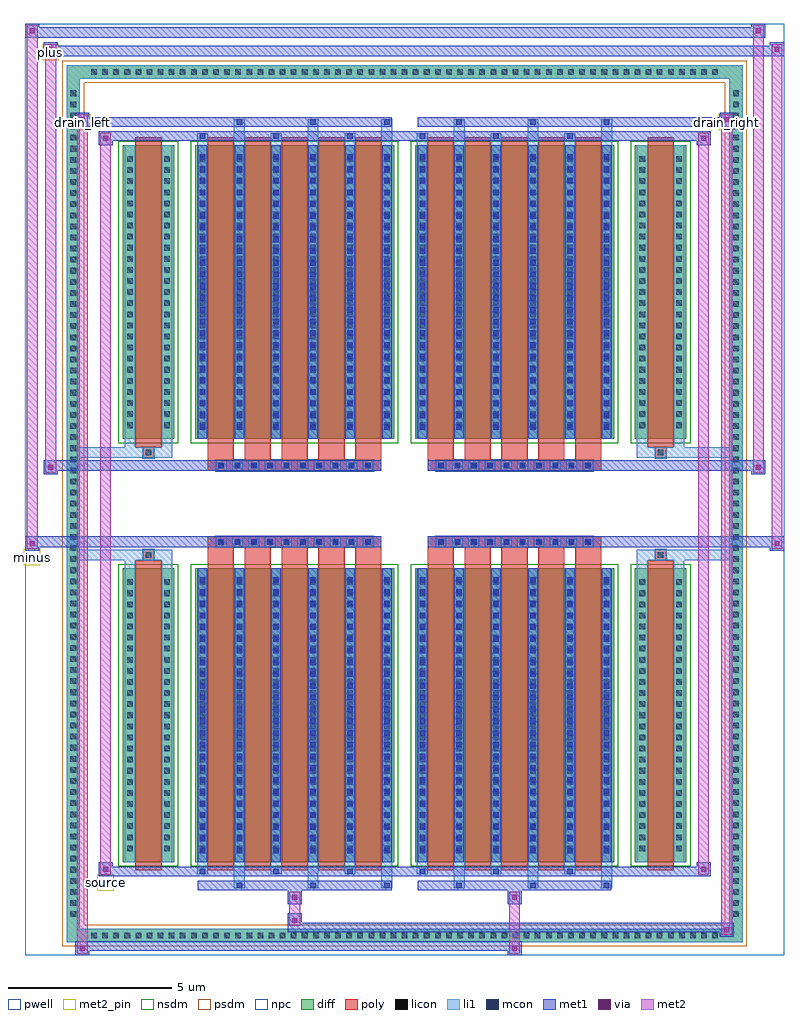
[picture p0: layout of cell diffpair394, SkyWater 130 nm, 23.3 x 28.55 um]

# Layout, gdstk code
import gdstk
lib = gdstk.Library(unit=1e-6, precision=5e-09)
def R(c, l, rs):  # rectangles x0, y0, x1, y1
    for r in rs: c.add(gdstk.rectangle(r[:2], r[2:], *l))
def A(c, l, x, y, w, h, nx, ny, dx, dy):  # array of equal rectangles
    R(c, l, [(x+i*dx, y+j*dy, x+i*dx+w, y+j*dy+h) for i in range(nx) for j in range(ny)])
def P(c, l, *ps):  # polygons
    for p in ps: c.add(gdstk.Polygon(p, *l))
pwell = (64, 44)
diff = (65, 20)
poly = (66, 20)
licon = (66, 44)
li1 = (67, 20)
mcon = (67, 44)
met1 = (68, 20)
via = (68, 44)
met2_pin = (69, 16)
met2 = (69, 20)
nsdm = (93, 44)
psdm = (94, 20)
npc = (95, 20)

diffpair394 = lib.new_cell('diffpair394')
R(diffpair394, pwell, [(-11.63,-13.84,11.63,14.71), (-8.95,-12.03,-0.01,-0.805), (0.01,-12.03,8.95,-0.805), (-8.95,0.805,-0.01,12.03), (0.01,0.805,8.95,12.03)])
A(diffpair394, diff, -9.725, -13.44, 0.41, 0.41, 57, 2, 0.34, 26.47)
A(diffpair394, diff, -10.36, -12.785, 0.41, 0.41, 1, 75, 0, 0.34)
A(diffpair394, diff, 9.95, -12.785, 0.41, 0.41, 1, 75, 0, 0.34)
R(diffpair394, diff, [(-9.725,-13.44,9.725,-13.03), (-10.36,-12.785,-9.95,12.785), (9.95,-12.785,10.36,12.785), (-8.64,-10.985,-7.06,-1.985), (-6.42,-10.985,-0.32,-1.985), (0.32,-10.985,6.42,-1.985), (7.06,-10.985,8.64,-1.985), (-8.64,1.985,-7.06,10.985), (-6.42,1.985,-0.32,10.985), (0.32,1.985,6.42,10.985), (7.06,1.985,8.64,10.985), (-9.725,13.03,9.725,13.44)])
P(diffpair394, diff, [(10.36,13.44),(-10.36,13.44),(-10.36,-13.03),(-9.95,-13.03),(-9.95,13.03),(9.95,13.03),(9.95,-13.03),(-9.95,-13.03),(-10.36,-13.03),(-10.36,-13.44),(10.36,-13.44)])
A(diffpair394, poly, -6.03, -11.235, 0.8, 9.5, 5, 2, 1.13, 12.97)
A(diffpair394, poly, 0.71, -11.235, 0.8, 9.5, 5, 2, 1.13, 12.97)
A(diffpair394, poly, -6.03, -1.735, 0.8, 0.4, 5, 2, 1.13, 3.07)
A(diffpair394, poly, 0.71, -1.735, 0.8, 0.4, 5, 2, 1.13, 3.07)
A(diffpair394, poly, -5.785, -1.335, 0.33, 0.33, 10, 2, 0.5, 2.34)
A(diffpair394, poly, 0.955, -1.335, 0.33, 0.33, 10, 2, 0.5, 2.34)
R(diffpair394, poly, [(-8.25,-11.235,-7.45,-1.735), (7.45,-11.235,8.25,-1.735), (-8.015,-1.735,-7.685,-1.405), (-8.015,-1.735,-7.685,-1.405), (7.685,-1.735,8.015,-1.405), (7.685,-1.735,8.015,-1.405), (-6.03,-1.335,-0.71,-1.005), (0.71,-1.335,6.03,-1.005), (-6.03,1.005,-0.71,1.335), (0.71,1.005,6.03,1.335), (-8.015,1.405,-7.685,1.735), (-8.015,1.405,-7.685,1.735), (7.685,1.405,8.015,1.735), (7.685,1.405,8.015,1.735), (-8.25,1.735,-7.45,11.235), (7.45,1.735,8.25,11.235)])
A(diffpair394, licon, -9.605, -13.32, 0.17, 0.17, 57, 2, 0.34, 26.47)
A(diffpair394, licon, -10.24, -12.665, 0.17, 0.17, 1, 75, 0, 0.34)
A(diffpair394, licon, 10.07, -12.665, 0.17, 0.17, 1, 75, 0, 0.34)
A(diffpair394, licon, -8.5, -10.65, 0.17, 0.17, 1, 25, 0, 0.34)
A(diffpair394, licon, -7.37, -10.65, 0.17, 0.17, 1, 25, 0, 0.34)
A(diffpair394, licon, -6.28, -10.65, 0.17, 0.17, 6, 25, 1.13, 0.34)
A(diffpair394, licon, 0.46, -10.65, 0.17, 0.17, 6, 25, 1.13, 0.34)
A(diffpair394, licon, 7.2, -10.65, 0.17, 0.17, 1, 25, 0, 0.34)
A(diffpair394, licon, 8.33, -10.65, 0.17, 0.17, 1, 25, 0, 0.34)
A(diffpair394, licon, -5.705, -1.255, 0.17, 0.17, 10, 2, 0.5, 2.34)
A(diffpair394, licon, 1.035, -1.255, 0.17, 0.17, 10, 2, 0.5, 2.34)
A(diffpair394, licon, -8.5, 2.32, 0.17, 0.17, 1, 25, 0, 0.34)
A(diffpair394, licon, -7.37, 2.32, 0.17, 0.17, 1, 25, 0, 0.34)
A(diffpair394, licon, -6.28, 2.32, 0.17, 0.17, 6, 25, 1.13, 0.34)
A(diffpair394, licon, 0.46, 2.32, 0.17, 0.17, 6, 25, 1.13, 0.34)
A(diffpair394, licon, 7.2, 2.32, 0.17, 0.17, 1, 25, 0, 0.34)
A(diffpair394, licon, 8.33, 2.32, 0.17, 0.17, 1, 25, 0, 0.34)
R(diffpair394, licon, [(-7.935,-1.655,-7.765,-1.485), (7.765,-1.655,7.935,-1.485), (-7.935,1.485,-7.765,1.655), (7.765,1.485,7.935,1.655)])
A(diffpair394, li1, -9.685, -13.4, 0.33, 0.33, 57, 2, 0.34, 26.47)
A(diffpair394, li1, -10.32, -12.745, 0.33, 0.33, 1, 75, 0, 0.34)
A(diffpair394, li1, 9.99, -12.745, 0.33, 0.33, 1, 75, 0, 0.34)
A(diffpair394, li1, -5.23, -11.79, 0.33, 0.805, 3, 2, 2.26, 22.775)
A(diffpair394, li1, -5.15, -11.79, 0.17, 0.17, 3, 2, 2.26, 23.41)
A(diffpair394, li1, 1.51, -11.79, 0.33, 0.805, 3, 2, 2.26, 22.775)
A(diffpair394, li1, 1.59, -11.79, 0.17, 0.17, 3, 2, 2.26, 23.41)
A(diffpair394, li1, -6.36, -11.36, 0.33, 0.375, 3, 2, 2.26, 22.345)
A(diffpair394, li1, -6.28, -11.36, 0.17, 0.17, 3, 2, 2.26, 22.55)
A(diffpair394, li1, 0.38, -11.36, 0.33, 0.375, 3, 2, 2.26, 22.345)
A(diffpair394, li1, 0.46, -11.36, 0.17, 0.17, 3, 2, 2.26, 22.55)
A(diffpair394, li1, -6.36, -10.985, 0.33, 9, 6, 2, 1.13, 12.97)
A(diffpair394, li1, 0.38, -10.985, 0.33, 9, 6, 2, 1.13, 12.97)
A(diffpair394, li1, -8.58, -10.73, 0.33, 0.33, 1, 25, 0, 0.34)
A(diffpair394, li1, -7.45, -10.73, 0.33, 0.33, 1, 25, 0, 0.34)
A(diffpair394, li1, -6.36, -10.73, 0.33, 0.33, 6, 25, 1.13, 0.34)
A(diffpair394, li1, 0.38, -10.73, 0.33, 0.33, 6, 25, 1.13, 0.34)
A(diffpair394, li1, 7.12, -10.73, 0.33, 0.33, 1, 25, 0, 0.34)
A(diffpair394, li1, 8.25, -10.73, 0.33, 0.33, 1, 25, 0, 0.34)
A(diffpair394, li1, -6.28, -10.71, 0.17, 0.17, 6, 24, 1.13, 0.36)
A(diffpair394, li1, -6.28, -10.71, 0.17, 8.45, 6, 2, 1.13, 12.97)
A(diffpair394, li1, 0.46, -10.71, 0.17, 0.17, 6, 24, 1.13, 0.36)
A(diffpair394, li1, 0.46, -10.71, 0.17, 8.45, 6, 2, 1.13, 12.97)
A(diffpair394, li1, -5.785, -1.335, 0.33, 0.33, 10, 2, 0.5, 2.34)
A(diffpair394, li1, 0.955, -1.335, 0.33, 0.33, 10, 2, 0.5, 2.34)
A(diffpair394, li1, -8.58, 2.24, 0.33, 0.33, 1, 25, 0, 0.34)
A(diffpair394, li1, -7.45, 2.24, 0.33, 0.33, 1, 25, 0, 0.34)
A(diffpair394, li1, -6.36, 2.24, 0.33, 0.33, 6, 25, 1.13, 0.34)
A(diffpair394, li1, 0.38, 2.24, 0.33, 0.33, 6, 25, 1.13, 0.34)
A(diffpair394, li1, 7.12, 2.24, 0.33, 0.33, 1, 25, 0, 0.34)
A(diffpair394, li1, 8.25, 2.24, 0.33, 0.33, 1, 25, 0, 0.34)
A(diffpair394, li1, -6.28, 2.26, 0.17, 0.17, 6, 24, 1.13, 0.36)
A(diffpair394, li1, 0.46, 2.26, 0.17, 0.17, 6, 24, 1.13, 0.36)
R(diffpair394, li1, [(-10.36,-13.44,-9.95,-13.03), (-10.36,-13.44,-9.95,-13.03), (-9.95,-13.44,9.95,-13.03), (9.95,-13.44,10.36,-13.03), (9.95,-13.44,10.36,-13.03), (-10.36,-13.03,-9.95,13.03), (9.95,-13.03,10.36,13.03), (-8.58,-10.985,-8.25,-1.985), (-7.45,-10.985,-7.12,-1.985), (7.12,-10.985,7.45,-1.985), (8.25,-10.985,8.58,-1.985), (-8.58,-1.985,-8.25,-1.405), (-7.45,-1.985,-7.12,-1.405), (7.12,-1.985,7.45,-1.405), (8.25,-1.985,8.58,-1.405), (-10.36,-1.735,-8.015,-1.405), (-8.58,-1.735,-8.015,-1.405), (-8.015,-1.735,-7.685,-1.405), (-7.685,-1.735,-7.12,-1.405), (7.12,-1.735,7.685,-1.405), (7.685,-1.735,8.015,-1.405), (7.685,-1.735,10.36,-1.405), (8.015,-1.735,8.58,-1.405), (-10.36,1.405,-8.015,1.735), (-8.58,1.405,-8.015,1.735), (-8.58,1.405,-8.25,1.985), (-8.015,1.405,-7.685,1.735), (-7.685,1.405,-7.12,1.735), (-7.45,1.405,-7.12,1.985), (7.12,1.405,7.685,1.735), (7.12,1.405,7.45,1.985), (7.685,1.405,8.015,1.735), (7.685,1.405,10.36,1.735), (8.015,1.405,8.58,1.735), (8.25,1.405,8.58,1.985), (-8.58,1.985,-8.25,10.985), (-7.45,1.985,-7.12,10.985), (7.12,1.985,7.45,10.985), (8.25,1.985,8.58,10.985), (-10.36,13.03,-9.95,13.44), (-10.36,13.03,-9.95,13.44), (-9.95,13.03,9.95,13.44), (9.95,13.03,10.36,13.44), (9.95,13.03,10.36,13.44)])
A(diffpair394, mcon, -5.15, -11.79, 0.17, 0.17, 3, 2, 2.26, 23.41)
A(diffpair394, mcon, 1.59, -11.79, 0.17, 0.17, 3, 2, 2.26, 23.41)
A(diffpair394, mcon, -6.28, -11.36, 0.17, 0.17, 3, 2, 2.26, 22.55)
A(diffpair394, mcon, 0.46, -11.36, 0.17, 0.17, 3, 2, 2.26, 22.55)
A(diffpair394, mcon, -6.28, -10.71, 0.17, 0.17, 6, 24, 1.13, 0.36)
A(diffpair394, mcon, 0.46, -10.71, 0.17, 0.17, 6, 24, 1.13, 0.36)
A(diffpair394, mcon, -5.705, -1.255, 0.17, 0.17, 10, 2, 0.5, 2.34)
A(diffpair394, mcon, 1.035, -1.255, 0.17, 0.17, 10, 2, 0.5, 2.34)
A(diffpair394, mcon, -6.28, 2.26, 0.17, 0.17, 6, 24, 1.13, 0.36)
A(diffpair394, mcon, 0.46, 2.26, 0.17, 0.17, 6, 24, 1.13, 0.36)
A(diffpair394, met1, -5.21, -11.85, 0.29, 0.29, 3, 2, 2.26, 23.41)
A(diffpair394, met1, 1.53, -11.85, 0.29, 0.29, 3, 2, 2.26, 23.41)
A(diffpair394, met1, -6.34, -11.42, 0.29, 0.29, 3, 2, 2.26, 22.55)
A(diffpair394, met1, 0.4, -11.42, 0.29, 0.29, 3, 2, 2.26, 22.55)
A(diffpair394, met1, -6.34, -10.985, 0.29, 9, 6, 2, 1.13, 12.97)
A(diffpair394, met1, 0.4, -10.985, 0.29, 9, 6, 2, 1.13, 12.97)
A(diffpair394, met1, -6.34, -10.77, 0.29, 0.29, 6, 24, 1.13, 0.36)
A(diffpair394, met1, 0.4, -10.77, 0.29, 0.29, 6, 24, 1.13, 0.36)
A(diffpair394, met1, -5.765, -1.315, 0.29, 0.29, 10, 2, 0.5, 2.34)
A(diffpair394, met1, 0.975, -1.315, 0.29, 0.29, 10, 2, 0.5, 2.34)
A(diffpair394, met1, -6.34, 2.2, 0.29, 0.29, 6, 24, 1.13, 0.36)
A(diffpair394, met1, 0.4, 2.2, 0.29, 0.29, 6, 24, 1.13, 0.36)
R(diffpair394, met1, [(-10.09,-13.84,-9.66,-13.41), (3.155,-13.84,3.585,-13.41), (-10.09,-13.7,3.585,-13.41), (9.66,-13.27,10.09,-12.84), (-3.585,-13.13,10.09,-12.84), (-3.585,-12.99,-3.155,-12.56), (-3.585,-12.28,-3.155,-11.85), (3.155,-12.28,3.585,-11.85), (-6.34,-11.85,-0.4,-11.56), (0.4,-11.85,6.34,-11.56), (-9.38,-11.42,-8.95,-10.99), (-9.38,-11.42,-6.34,-11.13), (-6.34,-11.42,-0.4,-11.13), (-0.4,-11.42,0.4,-11.13), (0.4,-11.42,6.34,-11.13), (6.34,-11.42,9.38,-11.13), (8.95,-11.42,9.38,-10.99), (-11.63,-1.435,-11.2,-1.005), (11.2,-1.435,11.63,-1.005), (-11.63,-1.335,-0.71,-1.005), (-6.03,-1.335,-0.71,-1.005), (0.71,-1.335,6.03,-1.005), (0.71,-1.335,11.63,-1.005), (-11.06,0.905,-10.63,1.335), (10.63,0.905,11.06,1.335), (-11.06,1.005,-6.03,1.335), (-6.03,1.005,-0.71,1.335), (0.71,1.005,6.03,1.335), (6.03,1.005,11.06,1.335), (-9.38,10.99,-8.95,11.42), (8.95,10.99,9.38,11.42), (-9.38,11.13,-6.34,11.42), (-6.34,11.13,-0.4,11.42), (-0.4,11.13,0.4,11.42), (0.4,11.13,6.34,11.42), (6.34,11.13,9.38,11.42), (-10.09,11.56,-9.66,11.99), (-10.09,11.56,-6.34,11.85), (-6.34,11.56,-0.4,11.85), (0.4,11.56,6.34,11.85), (6.34,11.56,10.09,11.85), (9.66,11.56,10.09,11.99), (-11.06,13.71,-10.63,14.14), (-11.06,13.71,-8.95,14.04), (-8.95,13.71,8.95,14.04), (8.95,13.71,11.63,14.04), (11.2,13.71,11.63,14.14), (-11.63,14.28,-11.2,14.71), (-11.63,14.28,-8.95,14.61), (-8.95,14.28,8.95,14.61), (8.95,14.28,11.06,14.61), (10.63,14.28,11.06,14.71)])
R(diffpair394, via, [(-9.95,-13.7,-9.8,-13.55), (3.295,-13.7,3.445,-13.55), (9.8,-13.13,9.95,-12.98), (-3.445,-12.85,-3.295,-12.7), (-3.445,-12.14,-3.295,-11.99), (3.295,-12.14,3.445,-11.99), (-9.24,-11.28,-9.09,-11.13), (9.09,-11.28,9.24,-11.13), (-11.49,-1.295,-11.34,-1.145), (11.34,-1.295,11.49,-1.145), (-10.92,1.045,-10.77,1.195), (10.77,1.045,10.92,1.195), (-9.24,11.13,-9.09,11.28), (9.09,11.13,9.24,11.28), (-9.95,11.7,-9.8,11.85), (9.8,11.7,9.95,11.85), (-10.92,13.85,-10.77,14), (11.34,13.85,11.49,14), (-11.49,14.42,-11.34,14.57), (10.77,14.42,10.92,14.57)])
R(diffpair394, met2_pin, [(-9.415,-11.87,-8.915,-11.37), (-11.665,-1.885,-11.165,-1.385), (-10.125,11.44,-9.625,11.94), (9.625,11.44,10.125,11.94), (-11.095,13.59,-10.595,14.09)])
R(diffpair394, met2, [(-10.04,-13.79,-9.71,-13.46), (-10.04,-13.79,-9.71,11.94), (3.205,-13.79,3.535,-13.46), (3.205,-13.46,3.535,-12.23), (9.71,-13.22,10.04,-12.89), (9.71,-13.22,10.04,11.94), (-3.535,-12.94,-3.205,-12.61), (-3.535,-12.61,-3.205,-12.23), (-3.535,-12.23,-3.205,-11.9), (3.205,-12.23,3.535,-11.9), (-9.33,-11.37,-9,-11.04), (-9.33,-11.37,-9,11.37), (9,-11.37,9.33,-11.04), (9,-11.37,9.33,11.37), (-11.58,-1.385,-11.25,-1.055), (-11.58,-1.385,-11.25,14.66), (11.25,-1.385,11.58,-1.055), (11.25,-1.385,11.58,14.09), (-11.01,0.955,-10.68,1.285), (-11.01,0.955,-10.68,14.09), (10.68,0.955,11.01,1.285), (10.68,0.955,11.01,14.66), (-9.33,11.04,-9,11.37), (9,11.04,9.33,11.37), (-10.04,11.61,-9.71,11.94), (9.71,11.61,10.04,11.94), (-11.01,13.76,-10.68,14.09), (11.25,13.76,11.58,14.09), (-11.58,14.33,-11.25,14.66), (10.68,14.33,11.01,14.66)])
P(diffpair394, met2, [(11.58,-1.385),(11.58,-1.385),(11.58,-1.055),(11.58,-1.055)],
  [(11.58,13.76),(11.58,13.76),(11.58,14.09),(11.58,14.09)],
  [(-11.25,-1.385),(-11.25,-1.385),(-11.25,-1.055),(-11.25,-1.055)],
  [(-11.25,14.33),(-11.25,14.33),(-11.25,14.66),(-11.25,14.66)],
  [(11.01,0.955),(11.01,0.955),(11.01,1.285),(11.01,1.285)],
  [(11.01,14.33),(11.01,14.33),(11.01,14.66),(11.01,14.66)],
  [(-10.68,0.955),(-10.68,0.955),(-10.68,1.285),(-10.68,1.285)],
  [(-10.68,13.76),(-10.68,13.76),(-10.68,14.09),(-10.68,14.09)],
  [(-9.71,-13.79),(-9.71,-13.79),(-9.71,-13.46),(-9.71,-13.46)],
  [(-9.71,11.61),(-9.71,11.61),(-9.71,11.94),(-9.71,11.94)],
  [(10.04,-13.22),(10.04,-13.22),(10.04,-12.89),(10.04,-12.89)],
  [(10.04,11.61),(10.04,11.61),(10.04,11.94),(10.04,11.94)],
  [(-9,-11.37),(-9,-11.37),(-9,-11.04),(-9,-11.04)],
  [(-9,11.04),(-9,11.04),(-9,11.37),(-9,11.37)],
  [(9.33,-11.37),(9.33,-11.37),(9.33,-11.04),(9.33,-11.04)],
  [(9.33,11.04),(9.33,11.04),(9.33,11.37),(9.33,11.37)])
R(diffpair394, nsdm, [(-8.77,-11.115,-6.93,-1.855), (-6.55,-11.115,-0.19,-1.855), (0.19,-11.115,6.55,-1.855), (6.93,-11.115,8.77,-1.855), (-8.77,1.855,-6.93,11.115), (-6.55,1.855,-0.19,11.115), (0.19,1.855,6.55,11.115), (6.93,1.855,8.77,11.115)])
P(diffpair394, psdm, [(10.49,13.57),(-10.49,13.57),(-10.49,-12.9),(-9.82,-12.9),(-9.82,12.9),(9.82,12.9),(9.82,-12.9),(-9.82,-12.9),(-10.49,-12.9),(-10.49,-13.57),(10.49,-13.57)])
A(diffpair394, npc, -5.805, -1.355, 0.37, 0.37, 10, 2, 0.5, 2.34)
A(diffpair394, npc, 0.935, -1.355, 0.37, 0.37, 10, 2, 0.5, 2.34)
R(diffpair394, npc, [(-8.035,-1.755,-7.665,-1.385), (7.665,-1.755,8.035,-1.385), (-5.805,-1.355,-4.935,-0.985), (-5.805,-1.355,-4.935,-0.985), (-5.305,-1.355,-4.435,-0.985), (-5.305,-1.355,-4.435,-0.985), (-4.805,-1.355,-3.935,-0.985), (-4.805,-1.355,-3.935,-0.985), (-4.305,-1.355,-3.435,-0.985), (-4.305,-1.355,-3.435,-0.985), (-3.805,-1.355,-2.935,-0.985), (-3.805,-1.355,-2.935,-0.985), (-3.305,-1.355,-2.435,-0.985), (-3.305,-1.355,-2.435,-0.985), (-2.805,-1.355,-1.935,-0.985), (-2.805,-1.355,-1.935,-0.985), (-2.305,-1.355,-1.435,-0.985), (-2.305,-1.355,-1.435,-0.985), (-1.805,-1.355,-0.935,-0.985), (-1.805,-1.355,-0.935,-0.985), (0.935,-1.355,1.805,-0.985), (0.935,-1.355,1.805,-0.985), (1.435,-1.355,2.305,-0.985), (1.435,-1.355,2.305,-0.985), (1.935,-1.355,2.805,-0.985), (1.935,-1.355,2.805,-0.985), (2.435,-1.355,3.305,-0.985), (2.435,-1.355,3.305,-0.985), (2.935,-1.355,3.805,-0.985), (2.935,-1.355,3.805,-0.985), (3.435,-1.355,4.305,-0.985), (3.435,-1.355,4.305,-0.985), (3.935,-1.355,4.805,-0.985), (3.935,-1.355,4.805,-0.985), (4.435,-1.355,5.305,-0.985), (4.435,-1.355,5.305,-0.985), (4.935,-1.355,5.805,-0.985), (4.935,-1.355,5.805,-0.985), (-5.805,0.985,-4.935,1.355), (-5.805,0.985,-4.935,1.355), (-5.305,0.985,-4.435,1.355), (-5.305,0.985,-4.435,1.355), (-4.805,0.985,-3.935,1.355), (-4.805,0.985,-3.935,1.355), (-4.305,0.985,-3.435,1.355), (-4.305,0.985,-3.435,1.355), (-3.805,0.985,-2.935,1.355), (-3.805,0.985,-2.935,1.355), (-3.305,0.985,-2.435,1.355), (-3.305,0.985,-2.435,1.355), (-2.805,0.985,-1.935,1.355), (-2.805,0.985,-1.935,1.355), (-2.305,0.985,-1.435,1.355), (-2.305,0.985,-1.435,1.355), (-1.805,0.985,-0.935,1.355), (-1.805,0.985,-0.935,1.355), (0.935,0.985,1.805,1.355), (0.935,0.985,1.805,1.355), (1.435,0.985,2.305,1.355), (1.435,0.985,2.305,1.355), (1.935,0.985,2.805,1.355), (1.935,0.985,2.805,1.355), (2.435,0.985,3.305,1.355), (2.435,0.985,3.305,1.355), (2.935,0.985,3.805,1.355), (2.935,0.985,3.805,1.355), (3.435,0.985,4.305,1.355), (3.435,0.985,4.305,1.355), (3.935,0.985,4.805,1.355), (3.935,0.985,4.805,1.355), (4.435,0.985,5.305,1.355), (4.435,0.985,5.305,1.355), (4.935,0.985,5.805,1.355), (4.935,0.985,5.805,1.355), (-8.035,1.385,-7.665,1.755), (7.665,1.385,8.035,1.755)])
diffpair394.add(gdstk.Label('minus', (-11.415,-1.635), layer=69, texttype=5))
diffpair394.add(gdstk.Label('drain_right', (9.875,11.69), layer=69, texttype=5))
diffpair394.add(gdstk.Label('drain_left', (-9.875,11.69), layer=69, texttype=5))
diffpair394.add(gdstk.Label('source', (-9.165,-11.62), layer=69, texttype=5))
diffpair394.add(gdstk.Label('plus', (-10.845,13.84), layer=69, texttype=5))

lib.write_gds('diffpair394.gds')
